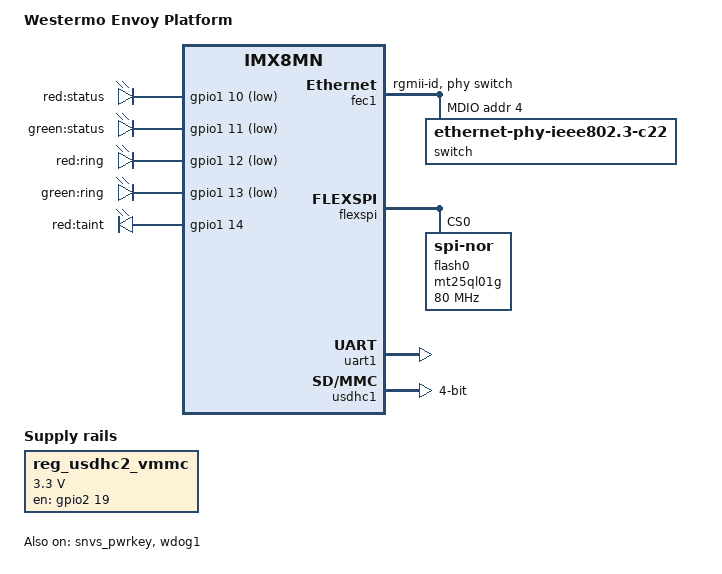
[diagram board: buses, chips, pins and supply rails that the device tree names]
// SPDX-License-Identifier: (GPL-2.0+ OR MIT)
/*
* Copyright 2019 NXP
*/

/dts-v1/;

#include "imx8mn.dtsi"

/ {
	model = "Westermo Envoy Platform";
	compatible = "westermo,envoy", "fsl,imx8mn";

	chosen {
		stdout-path = &uart1;
	};

	reg_usdhc2_vmmc: regulator-usdhc2 {
		compatible = "regulator-fixed";
		pinctrl-names = "default";
		pinctrl-0 = <&pinctrl_reg_usdhc2_vmmc>;
		regulator-name = "VSD_3V3";
		regulator-min-microvolt = <3300000>;
		regulator-max-microvolt = <3300000>;
		gpio = <&gpio2 19 GPIO_ACTIVE_HIGH>;
		enable-active-high;
	};
};

&cpu_alert0 {
	temperature = <95000>;
};

&cpu_crit0 {
	temperature = <105000>;
};

&iomuxc {
	pinctrl-names = "default";

	pinctrl_fec1: fec1grp {
		fsl,pins = <
		MX8MN_IOMUXC_ENET_MDC_ENET1_MDC		0x3
		MX8MN_IOMUXC_ENET_MDIO_ENET1_MDIO	0x3
		MX8MN_IOMUXC_ENET_TD3_ENET1_RGMII_TD3	0x1f
		MX8MN_IOMUXC_ENET_TD2_ENET1_RGMII_TD2	0x1f
		MX8MN_IOMUXC_ENET_TD1_ENET1_RGMII_TD1	0x1f
		MX8MN_IOMUXC_ENET_TD0_ENET1_RGMII_TD0	0x1f
		MX8MN_IOMUXC_ENET_RD3_ENET1_RGMII_RD3	0x91
		MX8MN_IOMUXC_ENET_RD2_ENET1_RGMII_RD2	0x91
		MX8MN_IOMUXC_ENET_RD1_ENET1_RGMII_RD1	0x91
		MX8MN_IOMUXC_ENET_RD0_ENET1_RGMII_RD0	0x91
		MX8MN_IOMUXC_ENET_TXC_ENET1_RGMII_TXC	0x1f
		MX8MN_IOMUXC_ENET_RXC_ENET1_RGMII_RXC	0x91
		MX8MN_IOMUXC_ENET_RX_CTL_ENET1_RGMII_RX_CTL	0x91
		MX8MN_IOMUXC_ENET_TX_CTL_ENET1_RGMII_TX_CTL	0x1f
		MX8MN_IOMUXC_SAI2_RXC_GPIO4_IO22	0x19
		>;
	};

	pinctrl_flexspi0: flexspi0grp {
		fsl,pins = <
		MX8MN_IOMUXC_NAND_ALE_QSPI_A_SCLK 0x1c4
		MX8MN_IOMUXC_NAND_CE0_B_QSPI_A_SS0_B 0x84

		MX8MN_IOMUXC_NAND_DQS_QSPI_A_DQS 0x40000084
		MX8MN_IOMUXC_NAND_DATA00_QSPI_A_DATA0 0x84
		MX8MN_IOMUXC_NAND_DATA01_QSPI_A_DATA1 0x84
		MX8MN_IOMUXC_NAND_DATA02_QSPI_A_DATA2 0x84
		MX8MN_IOMUXC_NAND_DATA03_QSPI_A_DATA3 0x84
		>;
	};

	pinctrl_leds: ledgrp {
		fsl,pins = <
		MX8MN_IOMUXC_GPIO1_IO10_GPIO1_IO10	0
		MX8MN_IOMUXC_GPIO1_IO11_GPIO1_IO11	0
		MX8MN_IOMUXC_GPIO1_IO12_GPIO1_IO12	0
		MX8MN_IOMUXC_GPIO1_IO13_GPIO1_IO13	0
		MX8MN_IOMUXC_GPIO1_IO14_GPIO1_IO14	0
		>;
	};

	pinctrl_reg_usdhc2_vmmc: regusdhc2vmmc {
		fsl,pins = <
		MX8MN_IOMUXC_SD2_RESET_B_GPIO2_IO19	0x41
		>;
	};

	pinctrl_uart1: uart1grp {
		fsl,pins = <
		MX8MN_IOMUXC_UART1_RXD_UART1_DCE_RX	0x140
		MX8MN_IOMUXC_UART1_TXD_UART1_DCE_TX	0x140
		>;
	};

	pinctrl_usdhc2_gpio: usdhc2grpgpio {
		fsl,pins = <
		MX8MN_IOMUXC_GPIO1_IO15_GPIO1_IO15	0x1c4
		>;
	};

	pinctrl_usdhc1: usdhc1grp {
		fsl,pins = <
		MX8MN_IOMUXC_GPIO1_IO06_USDHC1_CD_B     0
                MX8MN_IOMUXC_SD1_CLK_USDHC1_CLK         0x190
                MX8MN_IOMUXC_SD1_CMD_USDHC1_CMD         0x1d0
                MX8MN_IOMUXC_SD1_DATA0_USDHC1_DATA0     0x1d0
                MX8MN_IOMUXC_SD1_DATA1_USDHC1_DATA1     0x1d0
                MX8MN_IOMUXC_SD1_DATA2_USDHC1_DATA2     0x1d0
                MX8MN_IOMUXC_SD1_DATA3_USDHC1_DATA3     0x1d0
		>;
	};

	pinctrl_usdhc1_100mhz: usdhc1-100mhzgrp {
		fsl,pins = <
		MX8MN_IOMUXC_GPIO1_IO06_USDHC1_CD_B     0
                MX8MN_IOMUXC_SD1_CLK_USDHC1_CLK         0x194
                MX8MN_IOMUXC_SD1_CMD_USDHC1_CMD         0x1d4
                MX8MN_IOMUXC_SD1_DATA0_USDHC1_DATA0     0x1d4
                MX8MN_IOMUXC_SD1_DATA1_USDHC1_DATA1     0x1d4
                MX8MN_IOMUXC_SD1_DATA2_USDHC1_DATA2     0x1d4
                MX8MN_IOMUXC_SD1_DATA3_USDHC1_DATA3     0x1d4
		>;
	};

	pinctrl_usdhc1_200mhz: usdhc1-200mhzgrp {
		fsl,pins = <
		MX8MN_IOMUXC_GPIO1_IO06_USDHC1_CD_B     0
                MX8MN_IOMUXC_SD1_CLK_USDHC1_CLK         0x196
                MX8MN_IOMUXC_SD1_CMD_USDHC1_CMD         0x1d6
                MX8MN_IOMUXC_SD1_DATA0_USDHC1_DATA0     0x1d6
                MX8MN_IOMUXC_SD1_DATA1_USDHC1_DATA1     0x1d6
                MX8MN_IOMUXC_SD1_DATA2_USDHC1_DATA2     0x1d6
                MX8MN_IOMUXC_SD1_DATA3_USDHC1_DATA3     0x1d6
		>;
	};

	pinctrl_wdog: wdoggrp {
		fsl,pins = <
		MX8MN_IOMUXC_GPIO1_IO02_WDOG1_WDOG_B		0xc6
		>;
	};
};

&fec1 {
	pinctrl-names = "default";
	pinctrl-0 = <&pinctrl_fec1>;
	phy-mode = "rgmii-id";
	phy-handle = <&switch>;
	fsl,magic-packet;
	status = "okay";

	mdio {
		#address-cells = <1>;
		#size-cells = <0>;

		switch: ethernet-phy@4 {
			compatible = "ethernet-phy-ieee802.3-c22";
			reg = <4>;
		};
	};
};

&flexspi {
	pinctrl-names = "default";
	pinctrl-0 = <&pinctrl_flexspi0>;
	status = "okay";

	flash0: mt25ql01g@0 {
		reg = <0>;
		compatible = "jedec,spi-nor";
		spi-max-frequency = <80000000>;
		spi-tx-bus-width = <4>;
		spi-rx-bus-width = <4>;
	};
};

/ {
	gpio-leds {
		compatible = "gpio-leds";
		pinctrl-names = "default";
		pinctrl-0 = <&pinctrl_leds>;

		status-red {
			label = "red:status";
			gpios = <&gpio1 10 GPIO_ACTIVE_LOW>;
		};
		status-green {
			label = "green:status";
			gpios = <&gpio1 11 GPIO_ACTIVE_LOW>;
		};

		ring-red {
			label = "red:ring";
			gpios = <&gpio1 12 GPIO_ACTIVE_LOW>;
		};
		ring-green {
			label = "green:ring";
			gpios = <&gpio1 13 GPIO_ACTIVE_LOW>;
		};

		taint-red {
			label = "red:taint";
			gpios = <&gpio1 14 GPIO_ACTIVE_HIGH>;
			default-state = "keep";
		};
	};
};

&snvs_pwrkey {
	status = "okay";
};

&uart1 { /* console */
	pinctrl-names = "default";
	pinctrl-0 = <&pinctrl_uart1>;
	status = "okay";
};

&usdhc1 {
	#address-cells = <1>;
	#size-cells = <0>;
	pinctrl-names = "default", "state_100mhz", "state_200mhz";
	pinctrl-0 = <&pinctrl_usdhc1>;
	pinctrl-1 = <&pinctrl_usdhc1_100mhz>;
	pinctrl-2 = <&pinctrl_usdhc1_200mhz>;
	bus-width = <4>;
	status = "okay";
};

&wdog1 {
	pinctrl-names = "default";
	pinctrl-0 = <&pinctrl_wdog>;
	fsl,ext-reset-output;
	status = "okay";
};
